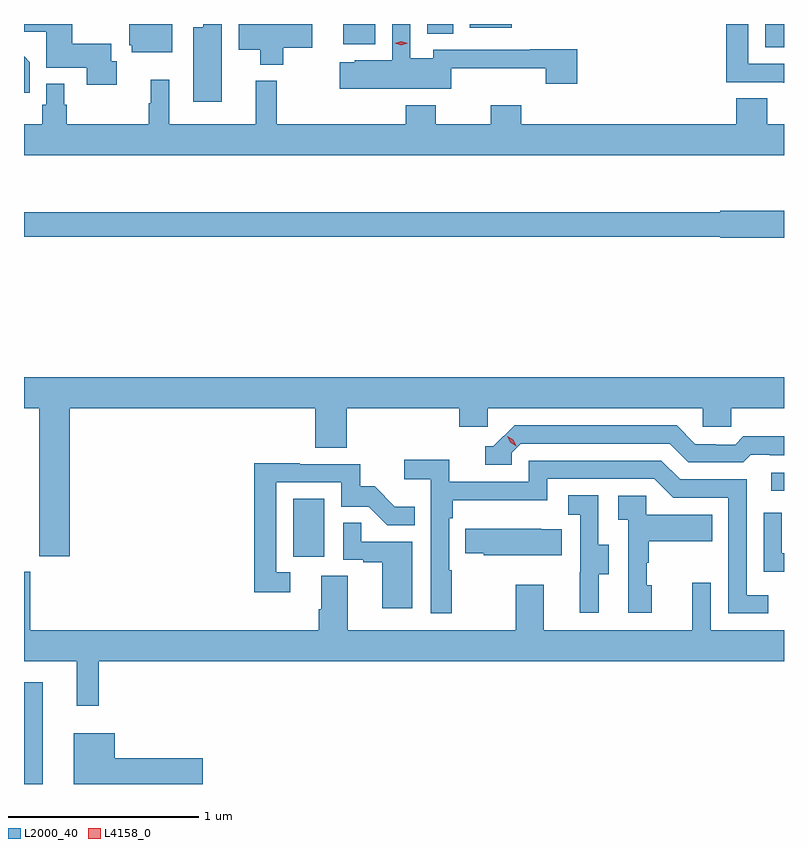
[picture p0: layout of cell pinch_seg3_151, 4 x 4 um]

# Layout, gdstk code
import gdstk
lib = gdstk.Library(unit=1e-6, precision=1e-09)
def R(c, l, rs):  # rectangles x0, y0, x1, y1
    for r in rs: c.add(gdstk.rectangle(r[:2], r[2:], *l))
def P(c, l, *ps):  # polygons
    for p in ps: c.add(gdstk.Polygon(p, *l))
L2000_40 = (2000, 40)
L4158_0 = (4158, 0)

pinch_seg3_151 = lib.new_cell('pinch_seg3_151')
R(pinch_seg3_151, L2000_40, [(1102.16,721.446,1102.324,721.753), (1104.675,721.794,1104.743,721.89), (1104.644,724.128,1104.743,724.251), (1102.424,724.145,1102.591,724.251), (1102.865,724.201,1103.002,724.251), (1103.09,724.232,1103.311,724.251)])
P(pinch_seg3_151, L2000_40, [(1101.523,724.251),(1101.296,724.251),(1101.296,724.14),(1101.309,724.14),(1101.309,724.103),(1101.523,724.103)],
  [(1101.231,724.054),(1101.202,724.054),(1101.202,724.148),(1100.998,724.148),(1100.998,724.251),(1100.743,724.251),(1100.743,724.21),(1100.861,724.21),(1100.861,724.022),(1101.074,724.022),(1101.074,723.932),(1101.231,723.932)],
  [(1101.784,724.251),(1101.686,724.251),(1101.686,724.234),(1101.635,724.234),(1101.635,723.842),(1101.784,723.842)],
  [(1102.108,724.126),(1102.261,724.126),(1102.261,724.251),(1101.872,724.251),(1101.872,724.115),(1101.986,724.115),(1101.986,724.037),(1102.108,724.037)],
  [(1102.992,724.019),(1103.489,724.019),(1103.489,723.936),(1103.654,723.936),(1103.654,724.118),(1103.407,724.118),(1103.407,724.116),(1102.896,724.116),(1102.896,724.072),(1102.776,724.072),(1102.776,724.251),(1102.68,724.251),(1102.68,724.06),(1102.485,724.06),(1102.485,724.051),(1102.406,724.051),(1102.406,723.911),(1102.992,723.911)],
  [(1104.743,724.041),(1104.555,724.041),(1104.555,724.251),(1104.439,724.251),(1104.439,723.945),(1104.739,723.945),(1104.739,723.943),(1104.743,723.943)],
  [(1100.774,724.05),(1100.743,724.081),(1100.743,723.888),(1100.774,723.888)],
  [(1104.743,723.724),(1104.656,723.724),(1104.656,723.86),(1104.491,723.86),(1104.491,723.724),(1103.36,723.724),(1103.36,723.823),(1103.2,723.823),(1103.2,723.724),(1102.911,723.724),(1102.911,723.823),(1102.751,723.823),(1102.751,723.724),(1102.072,723.724),(1102.072,723.952),(1101.962,723.952),(1101.962,723.724),(1101.507,723.724),(1101.507,723.958),(1101.41,723.958),(1101.41,723.833),(1101.399,723.833),(1101.399,723.724),(1100.968,723.724),(1100.968,723.825),(1100.955,723.825),(1100.955,723.937),(1100.859,723.937),(1100.859,723.825),(1100.839,723.825),(1100.839,723.724),(1100.743,723.724),(1100.743,723.56),(1104.743,723.56)],
  [(1104.743,723.267),(1104.408,723.267),(1104.408,723.259),(1100.743,723.259),(1100.743,723.13),(1104.408,723.13),(1104.408,723.125),(1104.743,723.125)],
  [(1100.743,722.228),(1100.824,722.228),(1100.824,721.449),(1100.984,721.449),(1100.984,722.228),(1102.277,722.228),(1102.277,722.02),(1102.442,722.02),(1102.442,722.228),(1103.033,722.228),(1103.033,722.13),(1103.184,722.13),(1103.184,722.228),(1104.315,722.228),(1104.315,722.13),(1104.465,722.13),(1104.465,722.228),(1104.743,722.228),(1104.743,722.392),(1100.743,722.392)],
  [(1103.31,721.995),(1103.358,722.043),(1104.141,722.043),(1104.24,721.944),(1104.529,721.944),(1104.568,721.983),(1104.667,721.983),(1104.667,721.98),(1104.743,721.98),(1104.743,722.08),(1104.529,722.08),(1104.487,722.037),(1104.384,722.037),(1104.384,722.04),(1104.277,722.04),(1104.178,722.139),(1103.325,722.139),(1103.214,722.028),(1103.171,722.028),(1103.171,721.932),(1103.31,721.932)],
  [(1102.993,721.376),(1102.98,721.376),(1102.98,721.649),(1103,721.649),(1103,721.745),(1103.496,721.745),(1103.496,721.857),(1104.06,721.857),(1104.159,721.758),(1104.45,721.758),(1104.45,721.149),(1104.659,721.149),(1104.659,721.245),(1104.546,721.245),(1104.546,721.854),(1104.196,721.854),(1104.097,721.953),(1103.4,721.953),(1103.4,721.842),(1102.982,721.842),(1102.982,721.958),(1102.743,721.958),(1102.743,721.856),(1102.884,721.856),(1102.884,721.149),(1102.993,721.149)],
  [(1102.144,721.365),(1102.071,721.365),(1102.071,721.839),(1102.413,721.839),(1102.413,721.71),(1102.557,721.71),(1102.655,721.612),(1102.799,721.612),(1102.799,721.711),(1102.695,721.711),(1102.588,721.818),(1102.512,721.818),(1102.512,721.935),(1102.193,721.935),(1102.193,721.94),(1101.955,721.94),(1101.955,721.26),(1102.144,721.26)],
  [(1103.767,721.354),(1103.821,721.354),(1103.821,721.509),(1103.766,721.509),(1103.766,721.772),(1103.607,721.772),(1103.607,721.669),(1103.67,721.669),(1103.67,721.365),(1103.669,721.365),(1103.669,721.152),(1103.767,721.152)],
  [(1104.046,721.296),(1104.021,721.296),(1104.021,721.415),(1104.031,721.415),(1104.031,721.529),(1104.365,721.529),(1104.365,721.669),(1104.018,721.669),(1104.018,721.767),(1103.871,721.767),(1103.871,721.643),(1103.922,721.643),(1103.922,721.152),(1104.046,721.152)],
  [(1104.743,721.466),(1104.732,721.466),(1104.732,721.678),(1104.636,721.678),(1104.636,721.368),(1104.743,721.368)],
  [(1102.786,721.527),(1102.517,721.527),(1102.517,721.625),(1102.422,721.625),(1102.422,721.431),(1102.529,721.431),(1102.529,721.419),(1102.628,721.419),(1102.628,721.176),(1102.786,721.176)],
  [(1103.573,721.591),(1103.465,721.591),(1103.465,721.594),(1103.065,721.594),(1103.065,721.465),(1103.163,721.465),(1103.163,721.454),(1103.573,721.454)],
  [(1101.137,720.896),(1104.743,720.896),(1104.743,721.06),(1104.357,721.06),(1104.357,721.309),(1104.26,721.309),(1104.26,721.06),(1103.479,721.06),(1103.479,721.3),(1103.332,721.3),(1103.332,721.06),(1102.447,721.06),(1102.447,721.346),(1102.307,721.346),(1102.307,721.172),(1102.295,721.172),(1102.295,721.06),(1100.776,721.06),(1100.776,721.369),(1100.743,721.369),(1100.743,720.896),(1101.02,720.896),(1101.02,720.663),(1101.137,720.663)],
  [(1100.842,720.787),(1100.745,720.787),(1100.745,720.265),(1100.743,720.265),(1100.743,720.251),(1100.842,720.251)],
  [(1101.685,720.386),(1101.22,720.386),(1101.22,720.517),(1101.005,720.517),(1101.005,720.251),(1101.685,720.251)])
P(pinch_seg3_151, L4158_0, [(1102.728,724.139),(1102.694,724.149),(1102.693,724.149),(1102.694,724.149),(1102.728,724.159),(1102.763,724.149),(1102.763,724.149),(1102.763,724.149)],
  [(1103.334,722.029),(1103.303,722.049),(1103.287,722.081),(1103.287,722.081),(1103.287,722.081),(1103.318,722.062),(1103.334,722.029),(1103.334,722.029)])

lib.write_gds('pinch_seg3_151.gds')
